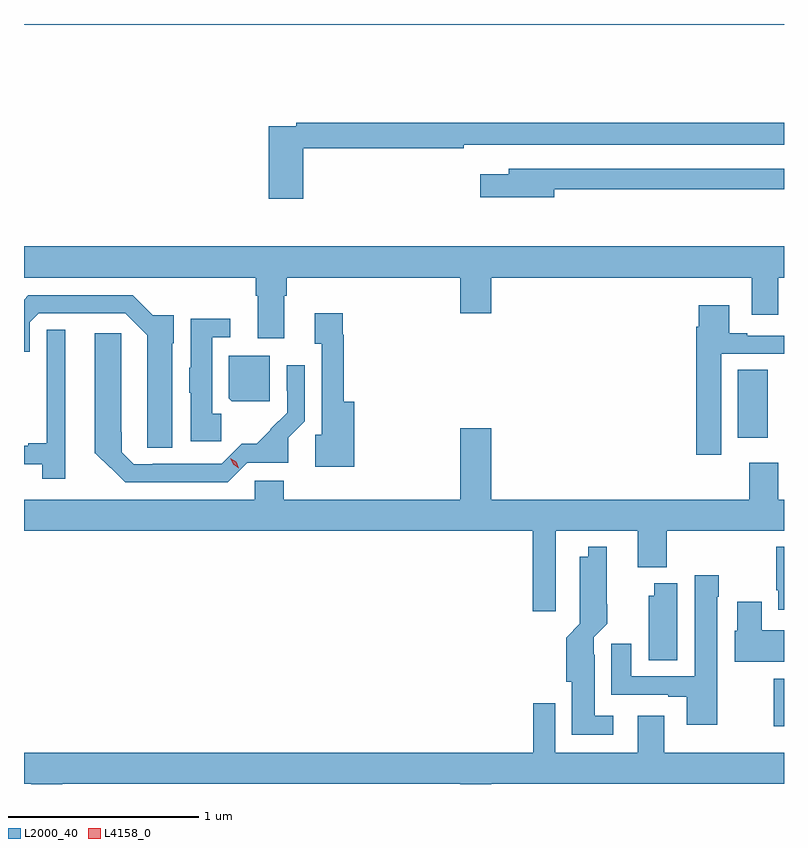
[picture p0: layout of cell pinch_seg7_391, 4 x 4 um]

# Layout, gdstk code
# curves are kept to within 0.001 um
import gdstk
lib = gdstk.Library(unit=1e-6, precision=1e-09)
def R(c, l, rs):  # rectangles x0, y0, x1, y1
    for r in rs: c.add(gdstk.rectangle(r[:2], r[2:], *l))
def P(c, l, *ps):  # polygons
    for p in ps: c.add(gdstk.Polygon(p, *l))
L2000_40 = (2000, 40)
L4158_0 = (4158, 0)

pinch_seg7_391 = lib.new_cell('pinch_seg7_391')
R(pinch_seg7_391, L2000_40, [(550.274,1016.904,550.328,1017.153), (550.085,1018.422,550.243,1018.778), (546.328,1020.596,550.328,1020.599)])
P(pinch_seg7_391, L2000_40, [(547.799,1019.944),(548.642,1019.944),(548.642,1019.964),(550.328,1019.964),(550.328,1020.08),(547.762,1020.08),(547.762,1020.06),(547.616,1020.06),(547.616,1019.679),(547.799,1019.679)],
  [(549.118,1019.73),(550.328,1019.73),(550.328,1019.838),(548.879,1019.838),(548.879,1019.809),(548.73,1019.809),(548.73,1019.687),(549.118,1019.687)],
  [(547.699,1019.168),(547.712,1019.168),(547.712,1019.264),(548.624,1019.264),(548.624,1019.076),(548.788,1019.076),(548.788,1019.264),(550.157,1019.264),(550.157,1019.07),(550.297,1019.07),(550.297,1019.264),(550.328,1019.264),(550.328,1019.428),(546.328,1019.428),(546.328,1019.264),(547.547,1019.264),(547.547,1019.168),(547.559,1019.168),(547.559,1018.944),(547.699,1018.944)],
  [(547.108,1018.92),(547.117,1018.92),(547.117,1019.067),(547.006,1019.067),(546.901,1019.172),(546.351,1019.172),(546.328,1019.149),(546.328,1018.874),(546.357,1018.874),(546.357,1019.028),(546.405,1019.076),(546.861,1019.076),(546.977,1018.96),(546.977,1018.369),(547.108,1018.369)],
  [(549.997,1018.863),(550.328,1018.863),(550.328,1018.959),(550.135,1018.959),(550.135,1018.972),(550.039,1018.972),(550.039,1019.119),(549.878,1019.119),(549.878,1019.006),(549.866,1019.006),(549.866,1018.332),(549.997,1018.332)],
  [(548.066,1018.612),(548.012,1018.612),(548.012,1018.964),(548.005,1018.964),(548.005,1019.077),(547.859,1019.077),(547.859,1018.916),(547.896,1018.916),(547.896,1018.438),(547.86,1018.438),(547.86,1018.268),(548.066,1018.268)],
  [(547.366,1018.548),(547.318,1018.548),(547.318,1018.95),(547.414,1018.95),(547.414,1019.048),(547.205,1019.048),(547.205,1018.791),(547.199,1018.791),(547.199,1018.659),(547.205,1018.659),(547.205,1018.403),(547.366,1018.403)],
  [(546.544,1018.991),(546.447,1018.991),(546.447,1018.393),(546.35,1018.393),(546.35,1018.38),(546.328,1018.38),(546.328,1018.283),(546.424,1018.283),(546.424,1018.206),(546.544,1018.206)],
  [(547.503,1018.29),(547.718,1018.29),(547.718,1018.421),(547.806,1018.509),(547.806,1018.804),(547.71,1018.804),(547.71,1018.67),(547.713,1018.67),(547.713,1018.554),(547.624,1018.465),(547.626,1018.463),(547.553,1018.39),(547.474,1018.39),(547.368,1018.284),(547.006,1018.284),(547.006,1018.281),(546.906,1018.281),(546.842,1018.346),(546.841,1018.972),(546.701,1018.972),(546.701,1018.341),(546.704,1018.341),(546.781,1018.264),(546.782,1018.265),(546.86,1018.188),(547.401,1018.188)],
  [(547.621,1018.852),(547.406,1018.852),(547.406,1018.629),(547.422,1018.613),(547.621,1018.613)],
  [(549.127,1017.932),(549.557,1017.932),(549.557,1017.74),(549.71,1017.74),(549.71,1017.932),(550.328,1017.932),(550.328,1018.096),(550.297,1018.096),(550.297,1018.291),(550.145,1018.291),(550.145,1018.096),(548.788,1018.096),(548.788,1018.471),(548.624,1018.471),(548.624,1018.096),(547.694,1018.096),(547.694,1018.194),(547.542,1018.194),(547.542,1018.096),(546.328,1018.096),(546.328,1017.932),(549.005,1017.932),(549.005,1017.507),(549.127,1017.507)],
  [(550.328,1017.847),(550.287,1017.847),(550.287,1017.619),(550.299,1017.619),(550.299,1017.516),(550.328,1017.516)],
  [(549.43,1016.959),(549.331,1016.959),(549.331,1017.278),(549.327,1017.278),(549.327,1017.372),(549.397,1017.442),(549.396,1017.847),(549.299,1017.847),(549.299,1017.796),(549.254,1017.796),(549.254,1017.442),(549.182,1017.37),(549.182,1017.138),(549.212,1017.138),(549.212,1016.858),(549.43,1016.858)],
  [(549.976,1017.584),(549.984,1017.584),(549.984,1017.697),(549.857,1017.697),(549.857,1017.165),(549.523,1017.165),(549.523,1017.337),(549.419,1017.337),(549.419,1017.069),(549.719,1017.069),(549.719,1017.057),(549.815,1017.057),(549.815,1016.91),(549.976,1016.91)],
  [(549.766,1017.655),(549.644,1017.655),(549.644,1017.591),(549.617,1017.591),(549.617,1017.25),(549.766,1017.25)],
  [(550.328,1017.409),(550.21,1017.409),(550.21,1017.559),(550.082,1017.559),(550.082,1017.405),(550.07,1017.405),(550.07,1017.242),(550.328,1017.242)],
  [(546.53,1016.6),(548.624,1016.6),(548.624,1016.599),(548.788,1016.599),(548.788,1016.6),(550.328,1016.6),(550.328,1016.764),(549.697,1016.764),(549.697,1016.959),(549.557,1016.959),(549.557,1016.764),(549.123,1016.764),(549.123,1017.025),(549.007,1017.025),(549.007,1016.764),(546.328,1016.764),(546.328,1016.6),(546.365,1016.6),(546.365,1016.599),(546.53,1016.599)])
P(pinch_seg7_391, L4158_0, [(547.458,1018.261),(547.429,1018.281),(547.414,1018.314),(547.414,1018.314),(547.414,1018.314),(547.444,1018.294),(547.459,1018.262),(547.459,1018.261)])

lib.write_gds('pinch_seg7_391.gds')
